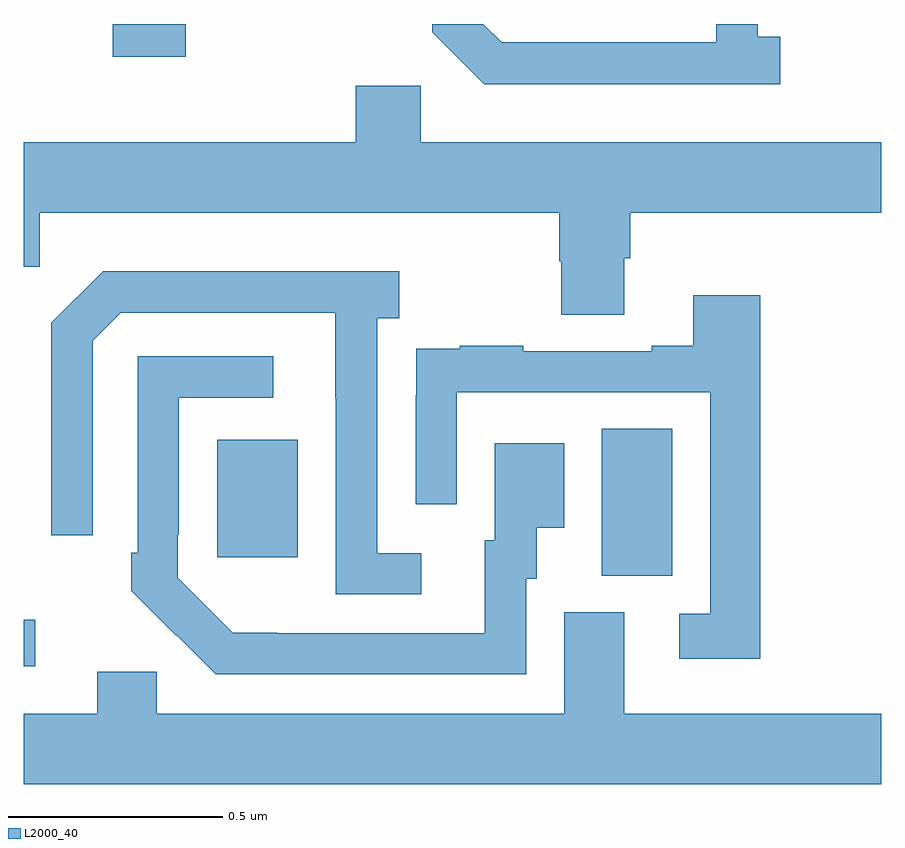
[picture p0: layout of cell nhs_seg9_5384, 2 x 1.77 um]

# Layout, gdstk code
import gdstk
lib = gdstk.Library(unit=1e-6, precision=1e-09)
def R(c, l, rs):  # rectangles x0, y0, x1, y1
    for r in rs: c.add(gdstk.rectangle(r[:2], r[2:], *l))
def P(c, l, *ps):  # polygons
    for p in ps: c.add(gdstk.Polygon(p, *l))
L2000_40 = (2000, 40)

nhs_seg9_5384 = lib.new_cell('nhs_seg9_5384')
R(nhs_seg9_5384, L2000_40, [(178,1222.002,178.027,1222.111), (179.348,1222.213,179.512,1222.556), (178.451,1222.257,178.639,1222.531), (178.208,1223.424,178.378,1223.5)])
P(nhs_seg9_5384, L2000_40, [(179.764,1223.47),(179.712,1223.47),(179.712,1223.5),(179.615,1223.5),(179.615,1223.457),(179.115,1223.457),(179.072,1223.5),(178.953,1223.5),(178.953,1223.481),(179.074,1223.36),(179.764,1223.36)],
  [(179.401,1222.954),(179.414,1222.954),(179.414,1223.06),(180,1223.06),(180,1223.224),(178.926,1223.224),(178.926,1223.356),(178.775,1223.356),(178.775,1223.224),(178,1223.224),(178,1222.934),(178.038,1222.934),(178.038,1223.06),(179.249,1223.06),(179.249,1222.947),(179.254,1222.947),(179.254,1222.822),(179.401,1222.822)],
  [(178.927,1222.266),(178.824,1222.266),(178.824,1222.814),(178.876,1222.814),(178.876,1222.924),(178.186,1222.924),(178.065,1222.803),(178.065,1222.308),(178.161,1222.308),(178.161,1222.761),(178.227,1222.827),(178.727,1222.827),(178.727,1222.627),(178.728,1222.627),(178.728,1222.17),(178.927,1222.17)],
  [(179.717,1222.867),(179.561,1222.867),(179.561,1222.75),(179.465,1222.75),(179.465,1222.737),(179.165,1222.737),(179.165,1222.75),(179.017,1222.75),(179.017,1222.743),(178.915,1222.743),(178.915,1222.634),(178.914,1222.634),(178.914,1222.38),(179.01,1222.38),(179.01,1222.641),(179.601,1222.641),(179.601,1222.125),(179.529,1222.125),(179.529,1222.02),(179.717,1222.02)],
  [(179.172,1222.206),(179.197,1222.206),(179.197,1222.325),(179.26,1222.325),(179.26,1222.522),(179.099,1222.522),(179.099,1222.296),(179.075,1222.296),(179.075,1222.08),(178.591,1222.08),(178.591,1222.081),(178.488,1222.081),(178.359,1222.209),(178.359,1222.309),(178.362,1222.309),(178.362,1222.629),(178.582,1222.629),(178.582,1222.725),(178.266,1222.725),(178.266,1222.267),(178.251,1222.267),(178.251,1222.179),(178.356,1222.074),(178.357,1222.075),(178.448,1221.984),(179.172,1221.984)],
  [(180,1221.892),(179.401,1221.892),(179.401,1222.128),(179.261,1222.128),(179.261,1221.892),(178.311,1221.892),(178.311,1221.99),(178.172,1221.99),(178.172,1221.892),(178,1221.892),(178,1221.728),(180,1221.728)])

lib.write_gds('nhs_seg9_5384.gds')
